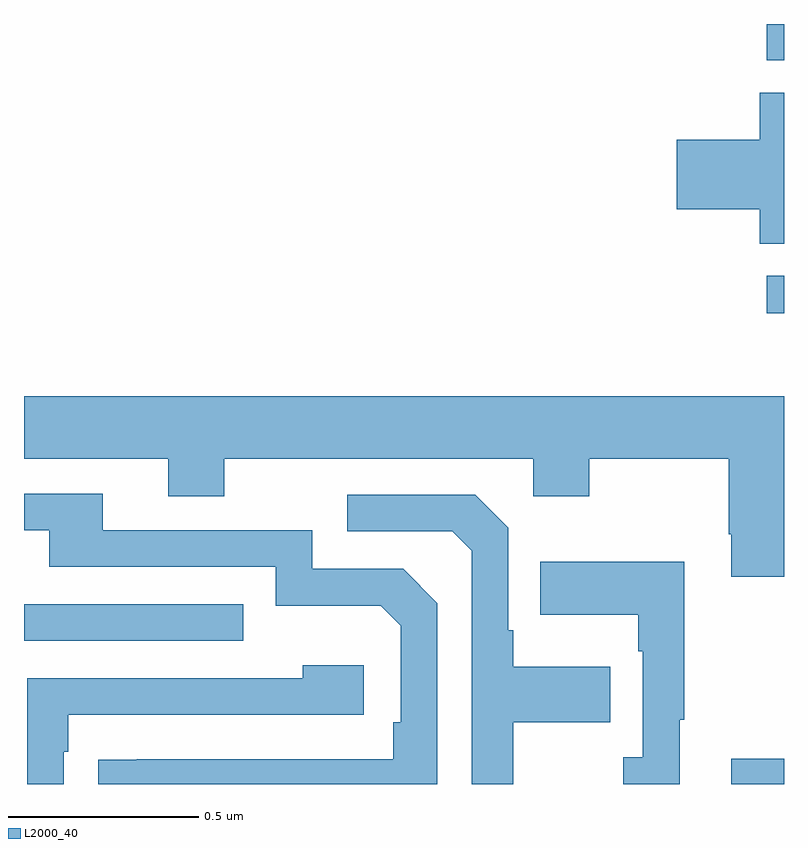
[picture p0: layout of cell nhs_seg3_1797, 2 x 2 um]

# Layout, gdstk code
import gdstk
lib = gdstk.Library(unit=1e-6, precision=1e-09)
def R(c, l, rs):  # rectangles x0, y0, x1, y1
    for r in rs: c.add(gdstk.rectangle(r[:2], r[2:], *l))
def P(c, l, *ps):  # polygons
    for p in ps: c.add(gdstk.Polygon(p, *l))
L2000_40 = (2000, 40)

nhs_seg3_1797 = lib.new_cell('nhs_seg3_1797')
R(nhs_seg3_1797, L2000_40, [(134.861,693.4,135,693.466), (133,693.777,133.577,693.873), (134.955,694.639,135,694.737), (134.955,695.304,135,695.4)])
P(nhs_seg3_1797, L2000_40, [(135,695.219),(134.936,695.219),(134.936,695.096),(134.718,695.096),(134.718,694.913),(134.936,694.913),(134.936,694.822),(135,694.822)],
  [(135,694.42),(133,694.42),(133,694.256),(133.379,694.256),(133.379,694.157),(133.527,694.157),(133.527,694.256),(134.34,694.256),(134.34,694.157),(134.487,694.157),(134.487,694.256),(134.854,694.256),(134.854,694.057),(134.861,694.057),(134.861,693.945),(135,693.945)],
  [(134.088,693.876),(133.998,693.966),(133.758,693.966),(133.758,694.068),(133.207,694.068),(133.207,694.164),(133,694.164),(133,694.068),(133.067,694.068),(133.067,693.972),(133.662,693.972),(133.662,693.869),(133.939,693.869),(133.992,693.816),(133.992,693.562),(133.972,693.562),(133.972,693.465),(133.297,693.465),(133.297,693.464),(133.195,693.464),(133.195,693.4),(134.088,693.4)],
  [(134.287,693.562),(134.543,693.562),(134.543,693.709),(134.287,693.709),(134.287,693.805),(134.274,693.805),(134.274,694.074),(134.187,694.161),(133.851,694.161),(133.851,694.065),(134.127,694.065),(134.178,694.014),(134.178,693.4),(134.287,693.4)],
  [(134.725,693.569),(134.737,693.569),(134.737,693.985),(134.359,693.985),(134.359,693.845),(134.616,693.845),(134.616,693.749),(134.628,693.749),(134.628,693.47),(134.577,693.47),(134.577,693.4),(134.725,693.4)],
  [(133.104,693.485),(133.117,693.485),(133.117,693.582),(133.894,693.582),(133.894,693.712),(133.733,693.712),(133.733,693.678),(133.008,693.678),(133.008,693.4),(133.104,693.4)])

lib.write_gds('nhs_seg3_1797.gds')
